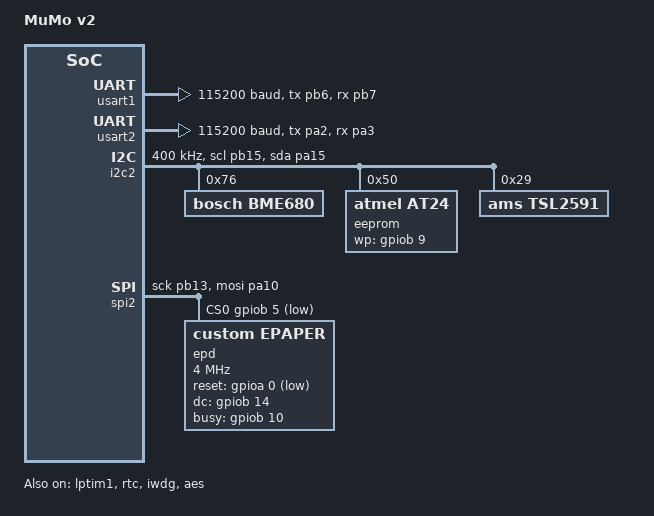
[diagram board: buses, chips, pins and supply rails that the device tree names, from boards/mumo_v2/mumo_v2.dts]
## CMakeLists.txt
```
cmake_minimum_required(VERSION 3.20.0)
list(APPEND BOARD_ROOT ${CMAKE_CURRENT_SOURCE_DIR})
find_package(Zephyr REQUIRED HINTS $ENV{ZEPHYR_BASE})
project(my_zephyr_app)
add_subdirectory(lib)
target_sources(app PRIVATE src/main.cpp)
```

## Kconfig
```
rsource "lib/breathing_led/Kconfig"
source "Kconfig.zephyr"

menu "WS2812 Strip Configuration"

config SAMPLE_LED_UPDATE_DELAY
	int "Delay between LED updates in ms"
	default 50
	help
	  Delay between LED updates in ms.
endmenu
```

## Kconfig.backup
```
mainmenu "Learning Zephyr menuconfig"
menu "Led Blink Driver Options" # This creates a submenu for all settings related to the led blink driver

# This prepares the options for a symbol further down
choice
    prompt "Led BLink Interval Options"
    default BLINK_INTERVAL_OPTION_1000MS
config BLINK_INTERVAL_OPTION_250MS
    bool "Fast (250 ms)"
config BLINK_INTERVAL_OPTION_1000MS
    bool "Normal (1000 ms)"
config BLINK_INTERVAL_OPTION_2500MS
    bool "Slow (2500 ms)"
endchoice

config SLEEP_TIME_IN_MS
    int 
    default 250 if BLINK_INTERVAL_OPTION_250MS
    default 1000 if BLINK_INTERVAL_OPTION_1000MS
    default 2500 if BLINK_INTERVAL_OPTION_2500MS
    default 1000

menuconfig LED_ADVANCED_OPTIONS
    bool "Enable advanced options for led blink driver"

if LED_ADVANCED_OPTIONS
config LED_BRIGHTNESS
    int "Led Brightness (0 % .. 100 %)"
    default 50

config LED_SPEED
    int "Led Speed (0.2 Hz .. 2 Hz)"
    default 1
endif



endmenu

source "Kconfig.zephyr"
```

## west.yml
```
manifest:
  version: 1.0
  self:
    path: app

  projects:
    - name: zephyr
      url: https://github.com/zephyrproject-rtos/zephyr
      revision: v4.4.0
      import:
        name-allowlist:
          - cmsis_6
          - hal_nxp
          - hal_stm32
          - hal_espressif
          - segger
```

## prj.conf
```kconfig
CONFIG_CPP=y
CONFIG_GPIO=y

CONFIG_SHELL=y
CONFIG_EEPROM=y
CONFIG_EEPROM_SHELL=y
CONFIG_DEVICE_SHELL=y
```

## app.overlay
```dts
/ {
    l6driver0: l6driver {
        compatible = "strooom,l6driver";
        calibration = <50>;
        sleep-ms = <200>;
        gpios = <&gpiob 5 GPIO_ACTIVE_LOW>;
        status = "okay";
    };
};
```

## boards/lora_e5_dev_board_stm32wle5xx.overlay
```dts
#include <zephyr/dt-bindings/led/led.h>

/ {
    aliases {
        led-strip = &led_strip;
    };
};

&spi2 {
    status = "okay";

    led_strip: ws2812@0 {
        compatible = "worldsemi,ws2812-spi";
        reg = <0>;
        spi-max-frequency = <6400000>;
        chain-length = <4>;
        color-mapping = <LED_COLOR_ID_GREEN  LED_COLOR_ID_RED LED_COLOR_ID_BLUE>;
        spi-one-frame = <0x78>;
        spi-zero-frame = <0x60>;
    };
};
```

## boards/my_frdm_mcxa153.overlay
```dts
/ {
    aliases {
        led0 = &red_led;
    };
    zephyr,user {
        blink-period-ms = <200>;
    };
};
```

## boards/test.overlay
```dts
#include <zephyr/dt-bindings/led/led.h>

/ {
    aliases {
        led-strip = &led_strip;
    };
};

&spi2 {
    status = "okay";
    pinctrl-0 = <&spim2_default>;
    pinctrl-names = "default";

    led_strip: ws2812@0 {
        compatible = "worldsemi,ws2812-spi";
        reg = <0>;
        spi-max-frequency = <6400000>;
        chain-length = <1>;
        color-mapping = <LED_COLOR_ID_GREEN
                         LED_COLOR_ID_RED
                         LED_COLOR_ID_BLUE>;
        spi-one-frame = <0x78>;
        spi-zero-frame = <0x60>;
    };
};

&pinctrl {
    spim2_default: spim2_default {
        group1 {
            pinmux = <SPIM2_MOSI_GPIO48>;
        };
    };
};
```

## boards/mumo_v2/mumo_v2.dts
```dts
/dts-v1/;
#include <seeed_studio/lora-e5.dtsi>
#include <zephyr/dt-bindings/input/input-event-codes.h>

/ {
	model = "MuMo v2";
	compatible = "strooom,mumo_v2";

	chosen {
		zephyr,console = &usart2;
		zephyr,shell-uart = &usart2;
		zephyr,sram = &sram0;
		zephyr,flash = &flash0;
		zephyr,code-partition = &slot0_partition;
	};

	// leds {
	// 	compatible = "gpio-leds";

	// 	red_led_1: led_1 {
	// 		gpios = <&gpiob 5 GPIO_ACTIVE_LOW>;
	// 		label = "User LED1";
	// 	};
	// };

	// gpio_keys {
	// 	compatible = "gpio-keys";

	// 	boot_button: button_0 {
	// 		label = "SW1";
	// 		gpios = <&gpiob 13 (GPIO_ACTIVE_LOW | GPIO_PULL_UP)>;
	// 		zephyr,code = <INPUT_KEY_0>;
	// 	};
	// };

	aliases {
		// led0 = &red_led_1;
		// sw0 = &boot_button;
		lora0 = &lora;
		watchdog0 = &iwdg;
		eeprom0 = &eeprom;
		light0 = &tsl2591;
		display0 = &epd;
	};
};

stm32_lp_tick_source: &lptim1 {
	status = "okay";
	clocks = <&rcc STM32_CLOCK(APB1, 31)>,
		 <&rcc STM32_SRC_LSI LPTIM1_SEL(1)>;
};

&clk_lsi {
	status = "okay";
};

&clk_msi {
	status = "okay";
	msi-range = <11>;
};

&rcc {
	clocks = <&clk_msi>;
	clock-frequency = <DT_FREQ_M(48)>;
	cpu1-prescaler = <1>;
	ahb3-prescaler = <1>;
	apb1-prescaler = <1>;
	apb2-prescaler = <1>;
};

&usart1 {
	status = "okay";
	pinctrl-0 = <&usart1_tx_pb6 &usart1_rx_pb7>;
	pinctrl-names = "default";
	current-speed = <115200>;
};

&usart2 {
	status = "okay";
	pinctrl-0 = <&usart2_tx_pa2 &usart2_rx_pa3>;
	pinctrl-names = "default";
	current-speed = <115200>;
};


&i2c2 {
	status = "okay";
	pinctrl-0 = <&i2c2_scl_pb15 &i2c2_sda_pa15>;
	pinctrl-names = "default";
	clock-frequency = <I2C_BITRATE_FAST>;

	bme680: bme680@76 {
		status = "okay";
		compatible = "bosch,bme680";
		reg = <0x76>;
	};

	eeprom: eeprom@50 {
		status = "okay";
		compatible = "atmel,at24";
		reg = <0x50>;
		size = <DT_SIZE_K(128)>;
		pagesize = <128>;
		address-width = <16>;
		timeout = <4>;
		wp-gpios = <&gpiob 9 GPIO_ACTIVE_HIGH>;
	};

	tsl2591: tsl2591@29 {
		status = "okay";
		compatible = "ams,tsl2591";
		reg = <0x29>;
	};
};

&spi2 {
	status = "okay";
	pinctrl-0 = <&spi2_sck_pb13 &spi2_mosi_pa10>;
	pinctrl-names = "default";
	cs-gpios = <&gpiob 5 GPIO_ACTIVE_LOW>;

	epd: epd@0 {
		compatible = "custom,epaper";
		reg = <0>;
		spi-max-frequency = <4000000>;
		reset-gpios = <&gpioa 0 GPIO_ACTIVE_LOW>;
		dc-gpios = <&gpiob 14 GPIO_ACTIVE_HIGH>;
		busy-gpios = <&gpiob 10 GPIO_ACTIVE_HIGH>;
	};
};

&rtc {
	clocks = <&rcc STM32_CLOCK(APB1, 10)>,
		 <&rcc STM32_SRC_LSI RTC_SEL(2)>;
	status = "okay";
};

&iwdg {
	status = "okay";
};

&aes {
	status = "okay";
};

&flash0 {
	partitions {
		compatible = "fixed-partitions";
		#address-cells = <1>;
		#size-cells = <1>;

		boot_partition: partition@0 {
			label = "mcuboot";
			reg = <0x00000000 DT_SIZE_K(48)>;
		};

		slot0_partition: partition@c000 {
			label = "image-0";
			reg = <0x0000c000 DT_SIZE_K(96)>;
		};

		slot1_partition: partition@24000 {
			label = "image-1";
			reg = <0x00024000 DT_SIZE_K(96)>;
		};

		/* 16KB (8x2kB pages) of storage at the end of the flash */
		storage_partition: partition@3c000 {
			label = "storage";
			reg = <0x0003c000 DT_SIZE_K(16)>;
		};
	};
};
```

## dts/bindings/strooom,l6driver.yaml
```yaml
description: custom driver for lesson 6 assignment
compatible: "strooom,l6driver"      # this value should match the name of the file (without the .yaml extension) and the compatible string used in the device tree
include: base.yaml
properties:
  calibration:
    type: int
    required: true
    description: Calibration value for the sensor
  gpios:
    type: phandle-array
    required: true
    description: GPIO spec for the LED to control
```

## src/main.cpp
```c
#include <stdio.h>
#include <zephyr/kernel.h>
#include <zephyr/drivers/gpio.h>

static constexpr uint32_t sleepTimeInMs{500};

#define LED0_NODE DT_ALIAS(led0)
#define BLINK_PERIOD_MS DT_PROP(DT_PATH(zephyr_user), blink_period_ms)

static const struct gpio_dt_spec led = GPIO_DT_SPEC_GET(LED0_NODE, gpios);

int main(void)
{
	int ret;
	bool led_state = true;

	if (!gpio_is_ready_dt(&led)) {
		return 0;
	}

	ret = gpio_pin_configure_dt(&led, GPIO_OUTPUT_ACTIVE);
	if (ret < 0) {
		return 0;
	}

	while (1) {
		ret = gpio_pin_toggle_dt(&led);
		if (ret < 0) {
			return 0;
		}

		led_state = !led_state;
		printf("LED state: %s\n", led_state ? "ON" : "OFF");
		k_msleep(BLINK_PERIOD_MS);
	}
	return 0;
}
```
